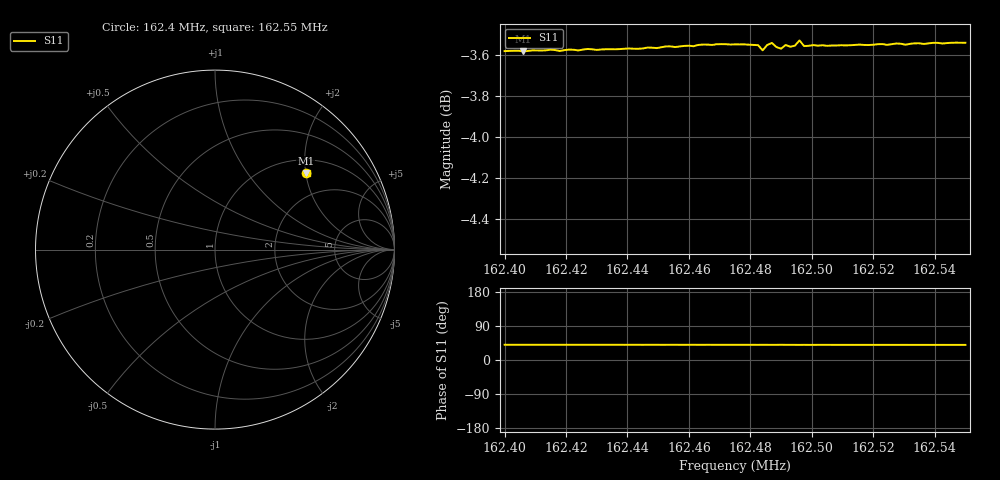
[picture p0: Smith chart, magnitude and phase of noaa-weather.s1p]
! Calibrated averaged scanner-service zoom
# Hz S RI R 50
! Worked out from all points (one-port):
!   101 points, 162.4 MHz to 162.55 MHz, reference 50 ohm
!   lowest |S11| = -3.6 dB at 162.406 MHz (marker M1), VSWR 4.92, Z = 65.8 + j100 ohm
!   |S11| at or under -10 dB: nowhere
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1.624e8  0.5057 0.4273
1.62406e8  0.5055 0.4274
1.624135e8  0.5063 0.4271
1.62418e8  0.5058 0.4272
1.624195e8  0.5064 0.4271
1.624375e8  0.5069 0.4271
1.62457e8  0.5079 0.4274
1.62466e8  0.5082 0.4281
1.62475e8  0.5086 0.4277
1.624825e8  0.5088 0.427
1.62484e8  0.5067 0.4266
1.624855e8  0.5087 0.4272
1.62487e8  0.5095 0.4275
1.624885e8  0.5082 0.4267
1.6249e8  0.5068 0.4274
1.624915e8  0.5089 0.427
1.62493e8  0.5082 0.4268
1.624945e8  0.509 0.4265
1.62496e8  0.5111 0.427
1.624975e8  0.5088 0.4265
1.625005e8  0.5095 0.4262
1.62502e8  0.5089 0.4267
1.625125e8  0.5092 0.4265
1.625245e8  0.5094 0.4265
1.625275e8  0.5101 0.4265
1.625305e8  0.5095 0.4265
1.62532e8  0.5101 0.4263
1.6255e8  0.5106 0.4263
